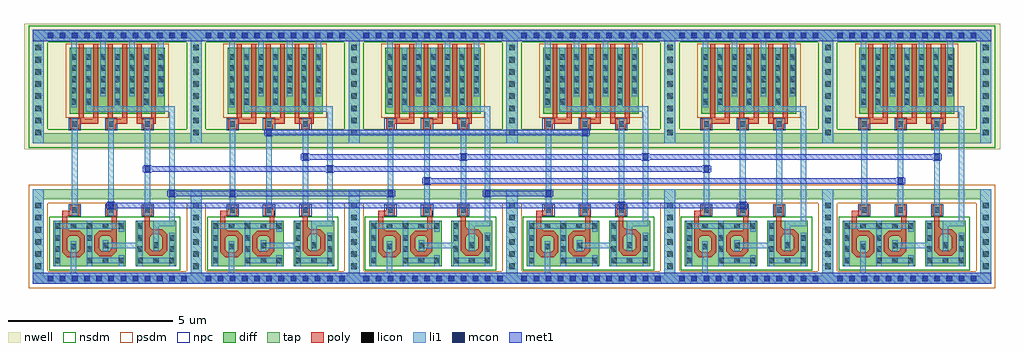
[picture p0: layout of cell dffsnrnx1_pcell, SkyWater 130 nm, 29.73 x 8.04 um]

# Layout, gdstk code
from math import pi, radians
import gdstk
lib = gdstk.Library(unit=1e-6, precision=1e-09)
def R(c, l, rs):  # rectangles x0, y0, x1, y1
    for r in rs: c.add(gdstk.rectangle(r[:2], r[2:], *l))
def A(c, l, x, y, w, h, nx, ny, dx, dy):  # array of equal rectangles
    R(c, l, [(x+i*dx, y+j*dy, x+i*dx+w, y+j*dy+h) for i in range(nx) for j in range(ny)])
def P(c, l, *ps):  # polygons
    for p in ps: c.add(gdstk.Polygon(p, *l))
nwell = (64, 20)
diff = (65, 20)
tap = (65, 44)
poly = (66, 20)
licon = (66, 44)
li1 = (67, 20)
mcon = (67, 44)
met1 = (68, 20)
nsdm = (93, 44)
psdm = (94, 20)
npc = (95, 20)

li1_m1_contact = lib.new_cell('li1_M1_contact')
R(li1_m1_contact, li1, [(-0.085,-0.165,0.085,0.165)])
R(li1_m1_contact, mcon, [(-0.085,-0.085,0.085,0.085)])
R(li1_m1_contact, met1, [(-0.115,-0.115,0.115,-0.085), (-0.265,-0.085,0.145,0.085), (-0.115,0.085,0.115,0.115)])

diff_ring_side = lib.new_cell('diff_ring_side')
R(diff_ring_side, nwell, [(-0.435,3.93,0.435,7.75)])
R(diff_ring_side, tap, [(-0.17,-0.17,0.17,2.72), (-0.17,4.11,0.17,7.57)])
A(diff_ring_side, licon, -0.085, 0.285, 0.17, 0.17, 1, 6, 0, 0.37)
A(diff_ring_side, licon, -0.085, 4.355, 0.17, 0.17, 1, 8, 0, 0.37)
R(diff_ring_side, li1, [(-0.17,-0.17,0.17,2.72), (-0.17,4.11,0.17,7.57)])
R(diff_ring_side, met1, [(-0.17,-0.17,0.17,0.17), (-0.17,7.23,0.17,7.57)])
R(diff_ring_side, nsdm, [(-0.295,3.985,0.295,7.695)])
R(diff_ring_side, psdm, [(-0.295,-0.295,0.295,2.845)])

nmos_bottom = lib.new_cell('nmos_bottom')
R(nmos_bottom, diff, [(0,0,1.24,1.38)])
R(nmos_bottom, poly, [(0.43,0.27,0.81,0.42), (0.28,0.42,0.43,0.925), (0.81,0.42,0.96,0.925), (0.43,0.925,0.96,1.075), (0.81,1.075,0.96,1.51)])
P(nmos_bottom, poly, [(0.73,1.075),(0.81,1.075),(0.81,1.155)],
  [(0.28,0.925),(0.43,0.925),(0.43,1.075)],
  [(0.43,0.845),(0.43,0.925),(0.51,0.925)],
  [(0.73,0.925),(0.81,0.925),(0.81,0.845)],
  [(0.43,0.5),(0.43,0.42),(0.51,0.42)],
  [(0.73,0.42),(0.81,0.42),(0.81,0.5)],
  [(0.28,0.42),(0.43,0.42),(0.43,0.27)],
  [(0.81,0.27),(0.81,0.42),(0.96,0.42)])
A(nmos_bottom, licon, 0.05, 1.13, 0.17, 0.17, 3, 1, 0.485, 0)
R(nmos_bottom, licon, [(0.05,0.08,0.22,0.25), (1.02,0.08,1.19,0.25), (0.05,0.43,0.22,0.6), (1.02,0.43,1.19,0.6), (0.535,0.505,0.705,0.675), (0.05,0.77,0.22,0.94), (1.02,0.77,1.19,0.94)])
R(nmos_bottom, li1, [(0.05,0,0.22,1.13), (1.02,0,1.19,1.13), (0.535,0.425,0.705,0.755), (0.05,1.13,1.19,1.3), (0.05,1.3,0.22,1.38), (1.02,1.3,1.19,1.38)])
R(nmos_bottom, nsdm, [(-0.125,-0.125,1.365,1.505)])

pmos2 = lib.new_cell('pmos2')
R(pmos2, nwell, [(0.26,-2.18,1.76,0.18)])
R(pmos2, diff, [(0.44,-2,1.58,0)])
R(pmos2, poly, [(0.72,-2.305,1.31,-2.155), (0.72,-2.155,0.87,0.13), (1.16,-2.155,1.31,0.13)])
A(pmos2, licon, 0.49, -1.38, 0.17, 0.17, 3, 4, 0.44, 0.34)
R(pmos2, li1, [(0.49,-1.465,0.66,0.21), (0.93,-1.465,1.1,0), (1.37,-1.465,1.54,0.21)])
R(pmos2, psdm, [(0.315,-2.125,1.705,0.125)])

poly_li1_contact = lib.new_cell('poly_li1_contact')
R(poly_li1_contact, poly, [(-0.16,-0.14,0.17,0.13)])
R(poly_li1_contact, licon, [(-0.08,-0.09,0.09,0.08)])
R(poly_li1_contact, li1, [(-0.16,-0.09,0.17,0.08)])
R(poly_li1_contact, npc, [(-0.18,-0.19,0.19,0.18)])

nmos_side_left = lib.new_cell('nmos_side_left')
R(nmos_side_left, diff, [(0,0,1.24,1.38)])
R(nmos_side_left, poly, [(0.435,0.305,0.81,0.455), (0.285,0.455,0.435,0.925), (0.81,0.455,0.96,0.925), (0.435,0.925,0.96,1.075), (0.81,1.075,0.96,1.51)])
P(nmos_side_left, poly, [(0.285,0.925),(0.435,0.925),(0.435,1.075)],
  [(0.435,0.845),(0.435,0.925),(0.515,0.925)],
  [(0.73,0.925),(0.81,0.925),(0.81,0.845)],
  [(0.435,0.535),(0.435,0.455),(0.515,0.455)],
  [(0.73,0.455),(0.81,0.455),(0.81,0.535)],
  [(0.285,0.455),(0.435,0.455),(0.435,0.305)],
  [(0.81,0.305),(0.81,0.455),(0.96,0.455)])
A(nmos_side_left, licon, 0.05, 0.08, 0.17, 0.17, 3, 2, 0.485, 1.05)
R(nmos_side_left, licon, [(0.05,0.43,0.22,0.6), (0.54,0.535,0.71,0.705), (0.05,0.77,0.22,0.94)])
R(nmos_side_left, li1, [(0.05,0,0.22,0.08), (1.02,0,1.19,0.08), (0.05,0.08,1.19,0.25), (0.05,0.25,0.22,1.13), (1.02,0.25,1.19,0.33), (0.54,0.455,0.71,0.785), (1.02,1.05,1.19,1.13), (0.05,1.13,1.19,1.3), (0.05,1.3,0.22,1.38), (1.02,1.3,1.19,1.38)])
R(nmos_side_left, nsdm, [(-0.125,-0.125,1.365,1.505)])

nmos_top_trim1 = lib.new_cell('nmos_top_trim1')
R(nmos_top_trim1, diff, [(0,0,1.24,1.38)])
R(nmos_top_trim1, poly, [(0.43,0.31,0.81,0.46), (0.28,0.46,0.43,0.965), (0.81,0.46,0.96,0.965), (0.43,0.965,0.96,1.115), (0.81,1.115,0.96,1.545)])
P(nmos_top_trim1, poly, [(0.73,1.115),(0.81,1.115),(0.81,1.195)],
  [(0.28,0.965),(0.43,0.965),(0.43,1.115)],
  [(0.43,0.885),(0.43,0.965),(0.51,0.965)],
  [(0.73,0.965),(0.81,0.965),(0.81,0.885)],
  [(0.43,0.54),(0.43,0.46),(0.51,0.46)],
  [(0.73,0.46),(0.81,0.46),(0.81,0.54)],
  [(0.28,0.46),(0.43,0.46),(0.43,0.31)],
  [(0.81,0.31),(0.81,0.46),(0.96,0.46)])
A(nmos_top_trim1, licon, 0.05, 0.08, 0.17, 0.17, 3, 1, 0.485, 0)
R(nmos_top_trim1, licon, [(0.05,0.43,0.22,0.6), (1.02,0.43,1.19,0.6), (0.535,0.55,0.705,0.72), (0.05,0.77,0.22,0.94), (1.02,0.77,1.19,0.94), (1.02,1.13,1.19,1.3)])
R(nmos_top_trim1, li1, [(0.05,0,0.22,0.08), (1.02,0,1.19,0.08), (0.05,0.08,1.19,0.25), (0.05,0.25,0.22,1.02), (1.02,0.25,1.19,1.38), (0.535,0.47,0.705,0.805)])
R(nmos_top_trim1, nsdm, [(-0.125,-0.125,1.365,1.505)])

nand3x1_pcell = lib.new_cell('nand3x1_pcell')
R(nand3x1_pcell, nwell, [(0.435,3.93,4.375,5.28), (0.435,5.28,1.1,5.295), (1.395,5.28,4.375,5.495), (0.435,5.295,1.025,5.465), (1.145,5.295,1.315,5.465), (0.435,5.465,1.1,5.495), (0.435,5.495,4.375,7.75)])
A(nand3x1_pcell, diff, 1.445, 5.295, 0.17, 0.17, 3, 1, 0.88, 0)
R(nand3x1_pcell, diff, [(1.005,5.295,1.175,5.465)])
R(nand3x1_pcell, tap, [(0.17,-0.17,4.64,0.085), (0.17,2.41,4.64,2.72), (0.17,4.11,4.64,4.42), (0.17,7.315,4.64,7.57)])
R(nand3x1_pcell, poly, [(0.735,1.885,0.885,1.915), (2.235,1.885,2.385,1.915), (0.735,1.915,0.975,2.065), (2.355,1.915,2.385,2.065)])
A(nand3x1_pcell, licon, 0.285, -0.085, 0.17, 0.17, 12, 2, 0.37, 7.4)
A(nand3x1_pcell, licon, 1.445, 5.295, 0.17, 0.17, 3, 1, 0.88, 0)
R(nand3x1_pcell, licon, [(1.005,5.295,1.175,5.465)])
A(nand3x1_pcell, li1, 1.445, 5.24, 0.17, 0.315, 3, 1, 0.88, 0)
R(nand3x1_pcell, li1, [(0.17,-0.17,4.64,0.17), (0.99,0.17,1.16,0.835), (1.965,0.91,3.015,1.08), (3.5,1.175,3.67,1.58), (3.5,1.58,4.155,1.75), (3.985,1.75,4.155,5.07), (1.025,2.165,1.195,4.54), (2.135,2.165,2.305,4.54), (3.245,2.245,3.415,4.7), (1.445,5.07,4.155,5.24), (1.005,5.215,1.175,5.58), (0.17,7.23,4.64,7.57)])
A(nand3x1_pcell, mcon, 0.285, -0.085, 0.17, 0.17, 12, 2, 0.37, 7.4)
R(nand3x1_pcell, met1, [(0.17,-0.17,4.64,0.17), (0.17,7.23,4.64,7.57)])
R(nand3x1_pcell, nsdm, [(2.79,0.25,2.84,1.88), (0.045,3.985,4.765,4.545), (0.045,7.19,4.765,7.695)])
R(nand3x1_pcell, psdm, [(0.045,-0.295,4.765,0.21), (0.045,2.285,4.765,2.845), (0.88,5.17,1.74,5.59), (2.2,5.17,2.62,5.59), (3.08,5.17,3.5,5.59)])
nand3x1_pcell.add(gdstk.Reference(diff_ring_side, (0,0)))
nand3x1_pcell.add(gdstk.Reference(nmos_bottom, (1.695,0.375), rotation=pi, x_reflection=True))
nand3x1_pcell.add(gdstk.Reference(pmos2, (0.515,7.02)))
nand3x1_pcell.add(gdstk.Reference(poly_li1_contact, (1.115,4.705), rotation=3*pi/2))
nand3x1_pcell.add(gdstk.Reference(poly_li1_contact, (1.105,2.075), rotation=pi/2))
nand3x1_pcell.add(gdstk.Reference(nmos_side_left, (1.425,0.375)))
nand3x1_pcell.add(gdstk.Reference(pmos2, (1.395,7.02)))
nand3x1_pcell.add(gdstk.Reference(pmos2, (2.275,7.02)))
nand3x1_pcell.add(gdstk.Reference(poly_li1_contact, (2.215,2.075), rotation=pi/2))
nand3x1_pcell.add(gdstk.Reference(poly_li1_contact, (2.215,4.695), rotation=pi/2))
nand3x1_pcell.add(gdstk.Reference(nmos_top_trim1, (4.205,0.375), rotation=pi, x_reflection=True))
nand3x1_pcell.add(gdstk.Reference(poly_li1_contact, (3.325,2.075), rotation=pi/2))
nand3x1_pcell.add(gdstk.Reference(poly_li1_contact, (3.335,4.705), rotation=3*pi/2))
nand3x1_pcell.add(gdstk.Reference(diff_ring_side, (4.81,0)))

dffsnrnx1_pcell = lib.new_cell('dffsnrnx1_pcell')
R(dffsnrnx1_pcell, met1, [(2.13,2.135,21.325,2.305), (4.155,2.505,10.87,2.675), (13.785,2.505,15.275,2.675), (11.755,2.875,26.05,3.045), (3.58,3.245,20.12,3.415), (8.3,3.615,27.45,3.785), (6.885,4.355,16.565,4.525)])
dffsnrnx1_pcell.add(gdstk.Reference(li1_m1_contact, (3.33,3.33), rotation=pi))
dffsnrnx1_pcell.add(gdstk.Reference(li1_m1_contact, (2.22,2.22), rotation=pi))
dffsnrnx1_pcell.add(gdstk.Reference(li1_m1_contact, (4.07,2.59), rotation=pi))
dffsnrnx1_pcell.add(gdstk.Reference(nand3x1_pcell, (0,0)))
dffsnrnx1_pcell.add(gdstk.Reference(nand3x1_pcell, (4.81,0)))
dffsnrnx1_pcell.add(gdstk.Reference(li1_m1_contact, (7.03,4.44), rotation=pi))
dffsnrnx1_pcell.add(gdstk.Reference(li1_m1_contact, (8.14,3.7), rotation=pi))
dffsnrnx1_pcell.add(gdstk.Reference(li1_m1_contact, (5.92,2.59), rotation=pi))
dffsnrnx1_pcell.add(gdstk.Reference(li1_m1_contact, (8.88,3.33), rotation=pi))
dffsnrnx1_pcell.add(gdstk.Reference(li1_m1_contact, (10.73,2.59)))
dffsnrnx1_pcell.add(gdstk.Reference(nand3x1_pcell, (9.62,0)))
dffsnrnx1_pcell.add(gdstk.Reference(li1_m1_contact, (16.65,4.44)))
dffsnrnx1_pcell.add(gdstk.Reference(li1_m1_contact, (12.95,3.7)))
dffsnrnx1_pcell.add(gdstk.Reference(li1_m1_contact, (11.84,2.96), rotation=pi))
dffsnrnx1_pcell.add(gdstk.Reference(li1_m1_contact, (13.69,2.59), rotation=pi))
dffsnrnx1_pcell.add(gdstk.Reference(li1_m1_contact, (15.54,2.59)))
dffsnrnx1_pcell.add(gdstk.Reference(nand3x1_pcell, (14.43,0)))
dffsnrnx1_pcell.add(gdstk.Reference(li1_m1_contact, (17.76,2.22), rotation=pi))
dffsnrnx1_pcell.add(gdstk.Reference(li1_m1_contact, (18.5,3.7), rotation=pi))
dffsnrnx1_pcell.add(gdstk.Reference(li1_m1_contact, (21.46,2.22)))
dffsnrnx1_pcell.add(gdstk.Reference(li1_m1_contact, (20.35,3.33)))
dffsnrnx1_pcell.add(gdstk.Reference(nand3x1_pcell, (19.24,0)))
dffsnrnx1_pcell.add(gdstk.Reference(li1_m1_contact, (27.38,3.7)))
dffsnrnx1_pcell.add(gdstk.Reference(li1_m1_contact, (26.27,2.96)))
dffsnrnx1_pcell.add(gdstk.Reference(nand3x1_pcell, (24.05,0)))

lib.write_gds('dffsnrnx1_pcell.gds')
